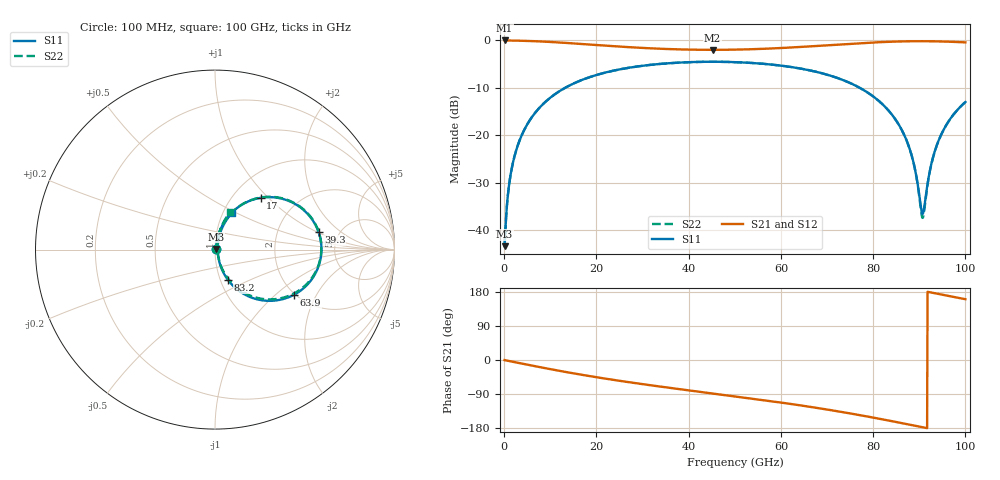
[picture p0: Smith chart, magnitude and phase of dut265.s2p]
! Touchstone file exported from HFSS 2026.1.0
!  File:  C:/ffzhzh/LocalFiles/Ansys_Project_Files/temp_train_RDL_265_1783501741_9504.aedt
!  Generated:  05:10:59 PM Jul  8, 2026
!  Design:  RDL
!  Project:  temp_train_RDL_265_1783501741_9504
! Variables:
!  h_bsmrdl = 2um
!  h_ox = 20um
!  h_rdl = 5um
!  h_sub = 80um
!  h_tmrdl = 2.05um
!  h_tsv = 80um
!  h_via = 3um
!  l_bsmrdl = 300um
!  l_sub = 1052.98um
!  l_tmrdl = 652.98um
!  m_sub = 200um
!  pitch = 44.1um
!  r_tsv = 6um
!  s_tmrdl = 10um
!  w_bsmrdl = 18um
!  w_sub = 500um
!  w_tmrdl = 18.93um
!  x_tsv_center1 = 662.445um
!  x_tsv_center2 = 980.445um
!  x_tsv_center3 = 1652.355um
!  x_tsv_center4 = 1970.355um
!  x_tsv_center5 = 2642.265um
!  x_tsv_center6 = 2960.265um
# GHz S MA R 50.000000
! Terminal data exported
! Port[1] = TM_RDL1_1_T1
! Port[2] = TM_RDL1_1_T2
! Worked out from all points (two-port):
!   1000 points, 100 MHz to 100 GHz, reference 50 ohm
!   highest |S21| = -0.05 dB at 100 MHz (marker M1); lowest = -2.0 dB at 45.2 GHz (marker M2)
!   |S21| within 3 dB of the highest: start of sweep to end of sweep
!   lowest |S11| = -43.3 dB at 100 MHz (marker M3), VSWR 1.01, Z = 50.6 + j0.292 ohm
!   |S11| at or under -10 dB: start of sweep to 13.25 GHz; 77.06 GHz to end of sweep
!   |S22| runs from -43.3 to -4.5 dB; largest |S21 - S12| = 1.7e-14
!   S11 on the Smith chart (normalised r, x): 100 MHz: 1.01, +0.01; 17 GHz: 1.33, +0.90; 39.3 GHz: 3.49, +1.04; 63.9 GHz: 1.97, -1.34; 83.2 GHz: 1.09, -0.38; 100 GHz: 1.10, +0.47
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0.1  0.00682 25.0  0.9938 -0.3  0.9938 -0.3  0.00682 25.0
! Gamma 0 0 0 0
! Port Impedance 50 0 50 0
0.9  0.0258 71.1  0.9923 -2.3  0.9923 -2.3  0.0258 71.2
1.6  0.04362 75.6  0.9912 -4.0  0.9912 -4.0  0.04362 75.6
4.3  0.1125 74.9  0.985 -10.6  0.985 -10.6  0.1125 75.0
9.2  0.2306 65.2  0.9631 -22.3  0.9631 -22.3  0.2305 65.4
16.8  0.3808 49.1  0.9125 -39.0  0.9125 -39.0  0.3808 49.4
17  0.3841 48.7  0.9111 -39.4  0.9111 -39.4  0.3841 49.0
33.4  0.5607 19.0  0.8146 -69.4  0.8146 -69.4  0.5606 19.7
39.3  0.5853 9.6  0.7976 -79.0  0.7976 -79.0  0.5851 10.5
45.2  0.5932 0.5  0.7919 -88.2  0.7919 -88.2  0.593 1.4
50.1  0.5876 -7.1  0.796 -96.0  0.796 -96.0  0.5874 -6.1
63.9  0.5068 -29.8  0.8471 -119.1  0.8471 -119.1  0.5067 -28.5
66.7  0.4767 -34.8  0.8635 -124.3  0.8635 -124.3  0.4766 -33.4
76.4  0.3289 -53.5  0.9256 -143.9  0.9256 -143.9  0.3288 -51.9
83.2  0.1852 -66.7  0.9613 -159.4  0.9613 -159.4  0.1852 -65.2
83.4  0.1806 -67.1  0.9621 -159.8  0.9621 -159.8  0.1805 -65.6
87.8  0.07485 -70.7  0.9741 -170.4  0.9741 -170.4  0.07468 -69.8
89  0.04581 -66.1  0.9754 -173.3  0.9754 -173.3  0.04547 -65.7
90.7  0.01492 -1.2  0.9758 -177.4  0.9758 -177.4  0.01353 0.3
92.6  0.04955 68.7  0.9742 178.0  0.9742 178.0  0.04904 72.4
94.1  0.08588 72.7  0.9713 174.4  0.9713 174.4  0.08554 75.7
100  0.2238 65.0  0.9487 160.5  0.9487 160.5  0.2236 67.7
